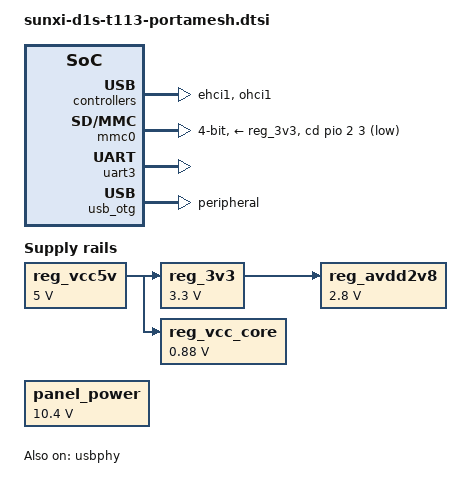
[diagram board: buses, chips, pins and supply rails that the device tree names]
// SPDX-License-Identifier: (GPL-2.0+ OR MIT)
// Copyright (C) 2022 Arm Ltd.
/*
 * Common peripherals and configurations for MangoPi MQ-R boards.
 */

#include <dt-bindings/gpio/gpio.h>
#include <dt-bindings/leds/common.h>
#include <dt-bindings/pwm/pwm.h>

/ {
	aliases {
		serial3 = &uart3;
	};

	chosen {
		stdout-path = "serial3:115200n8";
	};

	/*
        leds {
		compatible = "gpio-leds";

		led-0 {
			color = <LED_COLOR_ID_BLUE>;
			function = LED_FUNCTION_STATUS;
			gpios = <&pio 3 22 GPIO_ACTIVE_LOW>; // PD22
		};
	};
        */

	/* board wide 5V supply directly from the USB-C socket */
	reg_vcc5v: regulator-5v {
		compatible = "regulator-fixed";
		regulator-name = "vcc-5v";
		regulator-min-microvolt = <5000000>;
		regulator-max-microvolt = <5000000>;
		regulator-always-on;
	};

	/* SY8008 DC/DC regulator on the board */
	reg_3v3: regulator-3v3 {
		compatible = "regulator-fixed";
		regulator-name = "vcc-3v3";
		regulator-min-microvolt = <3300000>;
		regulator-max-microvolt = <3300000>;
		vin-supply = <&reg_vcc5v>;
	};

	/* SY8008 DC/DC regulator on the board, also supplying VDD-SYS */
	reg_vcc_core: regulator-core {
		compatible = "regulator-fixed";
		regulator-name = "vcc-core";
		regulator-min-microvolt = <880000>;
		regulator-max-microvolt = <880000>;
		vin-supply = <&reg_vcc5v>;
	};

	/* XC6206 LDO on the board */
	reg_avdd2v8: regulator-avdd {
		compatible = "regulator-fixed";
		regulator-name = "avdd2v8";
		regulator-min-microvolt = <2800000>;
		regulator-max-microvolt = <2800000>;
		vin-supply = <&reg_3v3>;
	};
/*
 * désactivé pour l'instant. Mauvais gpio
        wifi_pwrseq: wifi-pwrseq {
		compatible = "mmc-pwrseq-simple";
		reset-gpios = <&pio 6 12 GPIO_ACTIVE_LOW>; //PG12
	};
*/

        panel_power:panel_power {
                compatible = "regulator-fixed";
                regulator-name = "panel-power";
                regulator-min-microvolt = <10400000>;
                regulator-max-microvolt = <10400000>;
                //gpio = <&pio 7 12 GPIO_ACTIVE_HIGH>; /* PH12 */
                //enable-active-high;
                regulator-always-on;
                regulator-boot-on;
        };
};

&dcxo {
	clock-frequency = <24000000>;
};

&ehci1 {
	status = "okay";
};

&mmc0 {
	pinctrl-0 = <&mmc0_pins>;
	pinctrl-names = "default";
	vmmc-supply = <&reg_3v3>;
	cd-gpios = <&pio 2 3 GPIO_ACTIVE_LOW>; // PC3
	disable-wp;
	bus-width = <4>;
	status = "okay";
};

/*
&mmc1 {
	pinctrl-0 = <&mmc1_pins>;
	pinctrl-names = "default";
	vmmc-supply = <&reg_3v3>;
	non-removable;
	bus-width = <4>;
	mmc-pwrseq = <&wifi_pwrseq>;
	status = "okay";
};
*/

&ohci1 {
	status = "okay";
};

&pio {
	vcc-pb-supply = <&reg_3v3>;
	vcc-pd-supply = <&reg_3v3>;
	vcc-pe-supply = <&reg_avdd2v8>;
	vcc-pf-supply = <&reg_3v3>;
	vcc-pg-supply = <&reg_3v3>;

        // i2c
        i2c2_pins: i2c2-pins {
            pins = "PE12", "PE13";
            function = "i2c2";
        };

        i2c1_pins: i2c1-pins {
            pins = "PB4", "PB5";
            function = "i2c1";
        };
        /*
        gt911_irq_pin: gt911-irq-pin {
            pins = "PB3";
            function = "irq";
        };

        gt911_reset_pin: gt911-reset-pin {
            pins = "PB2";
            function = "gpio_out";
        };
        */
};

// console
&uart3 {
	pinctrl-names = "default";
	pinctrl-0 = <&uart3_pb_pins>;
	status = "okay";
};

/* The USB-C socket has its CC pins pulled to GND, so is hardwired as a UFP. */
&usb_otg {
	dr_mode = "peripheral";
	status = "okay";
};

&usbphy {
	usb1_vbus-supply = <&reg_vcc5v>;
	status = "okay";
};

/*
&i2c1 {
    pinctrl-names = "default";
    pinctrl-0 = <&i2c1_pins>;
    status = "okay";
    clock-frequency = <400000>; // oled go fast
    #address-cells = <1>;
    #size-cells = <0>;
    // 0.91" i2c oled
    ssd1306_i2c: oled@3c {
        compatible = "solomon,ssd1306fb-i2c";
        reg = <0x3c>;
        solomon,height = <32>;
        solomon,width = <128>;
        solomon,com-seq;
        solomon,com-invdir;
        solomon,page-offset = <0>;
        solomon,prechargep1 = <2>;
        solomon,prechargep2 = <13>;
    };
};
*/
